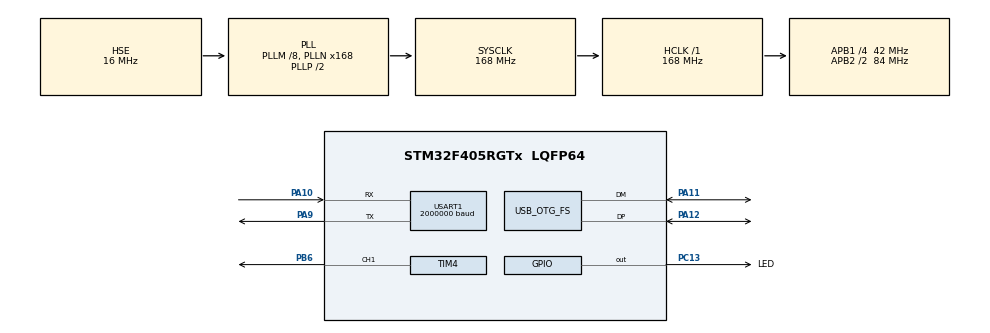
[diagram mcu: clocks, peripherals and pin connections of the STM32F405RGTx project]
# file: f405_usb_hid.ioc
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Mcu.Family=STM32F4
Mcu.Name=STM32F405RGTx
Mcu.Package=LQFP64
Mcu.UserConstants=LED_CNT,105
NVIC.OTG_FS_IRQn=true\:0\:0\:false\:false\:true\:false\:true\:true
NVIC.PriorityGroup=NVIC_PRIORITYGROUP_4
PA10.Mode=Asynchronous
PA10.Signal=USART1_RX
PA11.Mode=Device_Only
PA11.Signal=USB_OTG_FS_DM
PA12.Mode=Device_Only
PA12.Signal=USB_OTG_FS_DP
PA13.Mode=Trace_Asynchronous_SW
PA13.Signal=SYS_JTMS-SWDIO
PA14.Mode=Trace_Asynchronous_SW
PA14.Signal=SYS_JTCK-SWCLK
PA9.Mode=Asynchronous
PA9.Signal=USART1_TX
PB3.Mode=Trace_Asynchronous_SW
PB3.Signal=SYS_JTDO-SWO
PB6.Signal=S_TIM4_CH1
PC13-ANTI_TAMP.GPIO_Label=LED
PC13-ANTI_TAMP.GPIO_ModeDefaultOutputPP=GPIO_MODE_OUTPUT_OD
PC13-ANTI_TAMP.GPIO_PuPd=GPIO_NOPULL
PC13-ANTI_TAMP.PinState=GPIO_PIN_SET
PC13-ANTI_TAMP.Signal=GPIO_Output
PH0-OSC_IN.Mode=HSE-External-Oscillator
PH0-OSC_IN.Signal=RCC_OSC_IN
PH1-OSC_OUT.Mode=HSE-External-Oscillator
PH1-OSC_OUT.Signal=RCC_OSC_OUT
ProjectManager.HeapSize=0x200
ProjectManager.StackSize=0x400
ProjectManager.TargetToolchain=STM32CubeIDE
RCC.48MHZClocksFreq_Value=48000000
RCC.AHBFreq_Value=168000000
RCC.APB1CLKDivider=RCC_HCLK_DIV4
RCC.APB1Freq_Value=42000000
RCC.APB1TimFreq_Value=84000000
RCC.APB2CLKDivider=RCC_HCLK_DIV2
RCC.APB2Freq_Value=84000000
RCC.APB2TimFreq_Value=168000000
RCC.CortexFreq_Value=168000000
RCC.HCLKFreq_Value=168000000
RCC.HSE_VALUE=16000000
RCC.HSI_VALUE=16000000
RCC.LSE_VALUE=32768
RCC.PLLM=8
RCC.PLLN=168
RCC.PLLQ=7
RCC.SYSCLKFreq_VALUE=168000000
RCC.SYSCLKSource=RCC_SYSCLKSOURCE_PLLCLK
RCC.VCOOutputFreq_Value=336000000
SH.S_TIM4_CH1.0=TIM4_CH1,PWM Generation1 CH1
TIM4.Channel-PWM\ Generation1\ CH1=TIM_CHANNEL_1
TIM4.Period=LED_CNT
TIM4.TIM_MasterOutputTrigger=TIM_TRGO_UPDATE
USART1.BaudRate=2000000
USART1.OverSampling=UART_OVERSAMPLING_8
USART1.VirtualMode=VM_ASYNC
USB_DEVICE.CLASS_NAME_FS=CUSTOM_HID
USB_DEVICE.MANUFACTURER_STRING-CUSTOM_HID_FS=STM32World
USB_DEVICE.PID_CUSTOMHID_FS=22123
USB_DEVICE.PRODUCT_STRING_CUSTOMHID_FS=LEDCtl
USB_DEVICE.USBD_CUSTOMHID_OUTREPORT_BUF_SIZE-CUSTOM_HID_FS=64
USB_DEVICE.USBD_CUSTOM_HID_REPORT_DESC_SIZE-CUSTOM_HID_FS=24
USB_DEVICE.USBD_DEBUG_LEVEL-CUSTOM_HID_FS=3
USB_DEVICE.USBD_SELF_POWERED-CUSTOM_HID_FS=0
USB_DEVICE.VirtualMode-CUSTOM_HID_FS=CustomHid
USB_DEVICE.VirtualModeFS=Custom_Hid_FS
USB_OTG_FS.VirtualMode=Device_Only
VP_TIM4_VS_ClockSourceINT.Mode=Internal
VP_USB_DEVICE_VS_USB_DEVICE_CUSTOM_HID_FS.Mode=CUSTOM_HID_FS
board=custom

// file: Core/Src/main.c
/* USER CODE BEGIN Header */
/**
 ******************************************************************************
 * @file           : main.c
 * @brief          : Main program body
 ******************************************************************************
 * @attention
 *
 * Copyright (c) 2025 Lars Boegild Thomsen <lbthomsen@gmail.com>
 * All rights reserved.
 *
 * This software is licensed under terms that can be found in the LICENSE file
 * in the root directory of this software component.
 * If no LICENSE file comes with this software, it is provided AS-IS.
 *
 ******************************************************************************
 */
/* USER CODE END Header */
#include "main.h"
#include "usb_device.h"

/* USER CODE BEGIN Includes */
#include "ws2812_demos.h"
#include "ws2812.h"
/* USER CODE END Includes */

TIM_HandleTypeDef htim4;

UART_HandleTypeDef huart1;

/* USER CODE BEGIN PV */
ws2812_handleTypeDef ws2812; // The WS2812 panel handler
/* USER CODE END PV */

void SystemClock_Config(void);
static void MX_GPIO_Init(void);
static void MX_USART1_UART_Init(void);
static void MX_TIM4_Init(void);

/* USER CODE BEGIN 0 */

int _write(int fd, char *ptr, int len) {
    HAL_StatusTypeDef hstatus;

    if (fd == 1 || fd == 2) {
        hstatus = HAL_UART_Transmit(&huart1, (uint8_t*) ptr, len, HAL_MAX_DELAY);
        if (hstatus == HAL_OK)
            return len;
        else
            return -1;
    }
    return -1;
}

// Done sending first half of the DMA buffer - this can now safely be updated
void HAL_TIM_PWM_PulseFinishedHalfCpltCallback(TIM_HandleTypeDef *htim) {

    if (htim->Instance == TIM4) {
        ws2812_update_buffer(&ws2812, &ws2812.dma_buffer[0]);
    }

}

// Done sending the second half of the DMA buffer - this can now be safely updated
void HAL_TIM_PWM_PulseFinishedCallback(TIM_HandleTypeDef *htim) {

    if (htim->Instance == TIM4) {
        ws2812_update_buffer(&ws2812, &ws2812.dma_buffer[BUFFER_SIZE]);
    }

}

void CUSTOM_HID_OutEvent_FS_Handler(uint8_t *buffer) {

    printf("Recv buffer: 0x%02x, 0x%02x, 0x%02x, 0x%02x, 0x%02x, 0x%02x\n", buffer[0], buffer[1], buffer[2], buffer[3], buffer[4], buffer[5]);

//    switch (buffer[0]) {
//
//    case 1:
//
//        uint32_t new = ((uint32_t) buffer[1] << 24) | ((uint32_t) buffer[2] << 16) | ((uint32_t) buffer[3] << 8) | buffer[4];
//
//        //printf("Setting v to: 0x%08lx\n", new);
//
//        break;
//
//    default:
//        printf("Unsupported function!\n");
//
//    }

}

/* USER CODE END 0 */

int main(void)
{

  /* MCU Configuration--------------------------------------------------------*/

  /* Reset of all peripherals, Initializes the Flash interface and the Systick. */
  HAL_Init();

  /* Configure the system clock */
  SystemClock_Config();

  /* Initialize all configured peripherals */
  MX_GPIO_Init();
  MX_USART1_UART_Init();
  MX_TIM4_Init();
  MX_USB_DEVICE_Init();
  /* USER CODE BEGIN 2 */

    printf("WS2812 Demo\n");

    ws2812_init(&ws2812, &htim4, TIM_CHANNEL_1, 64);
    zeroLedValues(&ws2812);

    //ws2812_demos_set(&ws2812, 1);

  /* USER CODE END 2 */

  /* Infinite loop */
  /* USER CODE BEGIN WHILE */
    uint32_t now = 0, next_blink = 500, next_tick = 1000, loop_count = 0;

    while (1) {

        now = uwTick;

//        if (!(now % 10)) { // Just call every 10th loop
//            ws2812_demos_tick(&ws2812);
//        }

        if (now >= next_blink) { // Every 500 ms
            HAL_GPIO_TogglePin(LED_GPIO_Port, LED_Pin);
            next_blink = now + 500;
        }

        if (now >= next_tick) {
            printf("Tick %lu (count = %lu dma = %lu dat = %lu)\n", now / 1000, loop_count, ws2812.dma_cbs, ws2812.dat_cbs);
            loop_count = 0;
            next_tick = now + 1000;
        }

        ++loop_count;

    /* USER CODE END WHILE */

    }
}

void SystemClock_Config(void)
{
  RCC_OscInitTypeDef RCC_OscInitStruct = {0};
  RCC_ClkInitTypeDef RCC_ClkInitStruct = {0};

  /** Configure the main internal regulator output voltage
  */
  __HAL_RCC_PWR_CLK_ENABLE();
  __HAL_PWR_VOLTAGESCALING_CONFIG(PWR_REGULATOR_VOLTAGE_SCALE1);

  /** Initializes the RCC Oscillators according to the specified parameters
  * in the RCC_OscInitTypeDef structure.
  */
  RCC_OscInitStruct.OscillatorType = RCC_OSCILLATORTYPE_HSE;
  RCC_OscInitStruct.HSEState = RCC_HSE_ON;
  RCC_OscInitStruct.PLL.PLLState = RCC_PLL_ON;
  RCC_OscInitStruct.PLL.PLLSource = RCC_PLLSOURCE_HSE;
  RCC_OscInitStruct.PLL.PLLM = 8;
  RCC_OscInitStruct.PLL.PLLN = 168;
  RCC_OscInitStruct.PLL.PLLP = RCC_PLLP_DIV2;
  RCC_OscInitStruct.PLL.PLLQ = 7;
  if (HAL_RCC_OscConfig(&RCC_OscInitStruct) != HAL_OK)
  {
    Error_Handler();
  }

  /** Initializes the CPU, AHB and APB buses clocks
  */
  RCC_ClkInitStruct.ClockType = RCC_CLOCKTYPE_HCLK|RCC_CLOCKTYPE_SYSCLK
                              |RCC_CLOCKTYPE_PCLK1|RCC_CLOCKTYPE_PCLK2;
  RCC_ClkInitStruct.SYSCLKSource = RCC_SYSCLKSOURCE_PLLCLK;
  RCC_ClkInitStruct.AHBCLKDivider = RCC_SYSCLK_DIV1;
  RCC_ClkInitStruct.APB1CLKDivider = RCC_HCLK_DIV4;
  RCC_ClkInitStruct.APB2CLKDivider = RCC_HCLK_DIV2;

  if (HAL_RCC_ClockConfig(&RCC_ClkInitStruct, FLASH_LATENCY_5) != HAL_OK)
  {
    Error_Handler();
  }
}

static void MX_TIM4_Init(void)
{

  TIM_ClockConfigTypeDef sClockSourceConfig = {0};
  TIM_MasterConfigTypeDef sMasterConfig = {0};
  TIM_OC_InitTypeDef sConfigOC = {0};

  htim4.Instance = TIM4;
  htim4.Init.Prescaler = 0;
  htim4.Init.CounterMode = TIM_COUNTERMODE_UP;
  htim4.Init.Period = LED_CNT;
  htim4.Init.ClockDivision = TIM_CLOCKDIVISION_DIV1;
  htim4.Init.AutoReloadPreload = TIM_AUTORELOAD_PRELOAD_DISABLE;
  if (HAL_TIM_Base_Init(&htim4) != HAL_OK)
  {
    Error_Handler();
  }
  sClockSourceConfig.ClockSource = TIM_CLOCKSOURCE_INTERNAL;
  if (HAL_TIM_ConfigClockSource(&htim4, &sClockSourceConfig) != HAL_OK)
  {
    Error_Handler();
  }
  if (HAL_TIM_PWM_Init(&htim4) != HAL_OK)
  {
    Error_Handler();
  }
  sMasterConfig.MasterOutputTrigger = TIM_TRGO_UPDATE;
  sMasterConfig.MasterSlaveMode = TIM_MASTERSLAVEMODE_DISABLE;
  if (HAL_TIMEx_MasterConfigSynchronization(&htim4, &sMasterConfig) != HAL_OK)
  {
    Error_Handler();
  }
  sConfigOC.OCMode = TIM_OCMODE_PWM1;
  sConfigOC.Pulse = 0;
  sConfigOC.OCPolarity = TIM_OCPOLARITY_HIGH;
  sConfigOC.OCFastMode = TIM_OCFAST_DISABLE;
  if (HAL_TIM_PWM_ConfigChannel(&htim4, &sConfigOC, TIM_CHANNEL_1) != HAL_OK)
  {
    Error_Handler();
  }
  HAL_TIM_MspPostInit(&htim4);

}

static void MX_USART1_UART_Init(void)
{

  huart1.Instance = USART1;
  huart1.Init.BaudRate = 2000000;
  huart1.Init.WordLength = UART_WORDLENGTH_8B;
  huart1.Init.StopBits = UART_STOPBITS_1;
  huart1.Init.Parity = UART_PARITY_NONE;
  huart1.Init.Mode = UART_MODE_TX_RX;
  huart1.Init.HwFlowCtl = UART_HWCONTROL_NONE;
  huart1.Init.OverSampling = UART_OVERSAMPLING_8;
  if (HAL_UART_Init(&huart1) != HAL_OK)
  {
    Error_Handler();
  }

}

static void MX_GPIO_Init(void)
{
  GPIO_InitTypeDef GPIO_InitStruct = {0};

  /* GPIO Ports Clock Enable */
  __HAL_RCC_GPIOC_CLK_ENABLE();
  __HAL_RCC_GPIOH_CLK_ENABLE();
  __HAL_RCC_GPIOA_CLK_ENABLE();
  __HAL_RCC_GPIOB_CLK_ENABLE();

  /*Configure GPIO pin Output Level */
  HAL_GPIO_WritePin(LED_GPIO_Port, LED_Pin, GPIO_PIN_SET);

  /*Configure GPIO pin : LED_Pin */
  GPIO_InitStruct.Pin = LED_Pin;
  GPIO_InitStruct.Mode = GPIO_MODE_OUTPUT_OD;
  GPIO_InitStruct.Pull = GPIO_NOPULL;
  GPIO_InitStruct.Speed = GPIO_SPEED_FREQ_LOW;
  HAL_GPIO_Init(LED_GPIO_Port, &GPIO_InitStruct);

}

void Error_Handler(void)
{
    __disable_irq();
    while (1)
    {
    }
}
